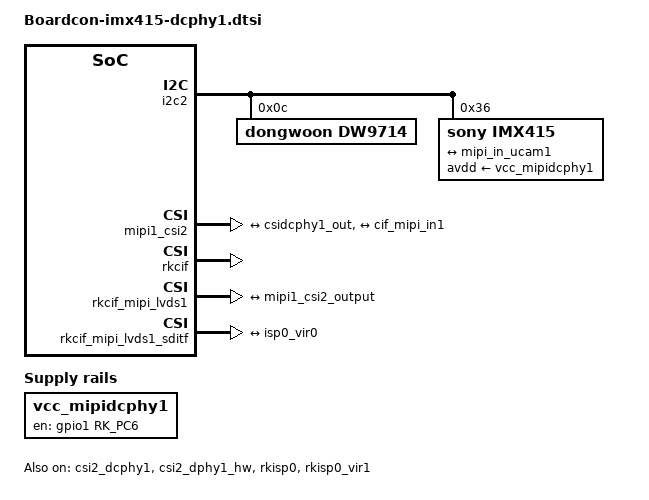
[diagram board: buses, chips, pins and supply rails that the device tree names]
// SPDX-License-Identifier: (GPL-2.0+ OR MIT)
/*
 * Copyright (c) 2021 Rockchip Electronics Co., Ltd.
 *
 */

/ {
	vcc_mipidcphy1: vcc-mipidcphy1-regulator {
		compatible = "regulator-fixed";
		gpio = <&gpio1 RK_PC6 GPIO_ACTIVE_HIGH>;
		pinctrl-names = "default";
		pinctrl-0 = <&mipidcphy1_pwr>;
		regulator-name = "vcc_mipidcphy1";
		enable-active-high;
	};
};

&csi2_dcphy1 {
	status = "okay";

	ports {
		#address-cells = <1>;
		#size-cells = <0>;
		port@0 {
			reg = <0>;
			#address-cells = <1>;
			#size-cells = <0>;

			mipi_in_ucam1: endpoint@1 {
				reg = <1>;
				remote-endpoint = <&imx415_outc1>;
				data-lanes = <1 2 3 4>;
			};
		};
		port@1 {
			reg = <1>;
			#address-cells = <1>;
			#size-cells = <0>;

			csidcphy1_out: endpoint@0 {
				reg = <0>;
				remote-endpoint = <&mipi1_csi2_input>;
			};
		};
	};
};

&csi2_dphy1_hw {
	status = "okay";
};

&i2c2 {
	status = "okay";
	pinctrl-names = "default";
	pinctrl-0 = <&i2c2m4_xfer>;

	dw9714: dw9714@c {
		compatible = "dongwoon,dw9714";
		status = "okay";
		reg = <0x0c>;
		rockchip,camera-module-index = <0>;
		rockchip,camera-module-facing = "back";
		rockchip,vcm-start-current = <20>;
		rockchip,vcm-rated-current = <120>;
		rockchip,vcm-step-mode = <13>;
	};

	imx415: imx415@36 {
		compatible = "sony,imx415";
		reg = <0x36>;
		clocks = <&cru CLK_MIPI_CAMARAOUT_M4>;
		clock-names = "xvclk";
		pinctrl-names = "default";
		pinctrl-0 = <&mipim0_camera4_clk>;
		power-domains = <&power RK3588_PD_VI>;
		avdd-supply = <&vcc_mipidcphy1>;
		rockchip,camera-module-index = <0>;
		rockchip,camera-module-facing = "back";
		rockchip,camera-module-name = "CMK-OT2022-PX1";
		rockchip,camera-module-lens-name = "IR0147-50IRC-8M-F20";
		lens-focus = <&dw9714>;
		port {
			imx415_outc1: endpoint {
				remote-endpoint = <&mipi_in_ucam1>;
				data-lanes = <1 2 3 4>;
			};
		};
	};
};

&mipi1_csi2 {
	status = "okay";

	ports {
		#address-cells = <1>;
		#size-cells = <0>;

		port@0 {
			reg = <0>;
			#address-cells = <1>;
			#size-cells = <0>;

			mipi1_csi2_input: endpoint@1 {
				reg = <1>;
				remote-endpoint = <&csidcphy1_out>;
			};
		};

		port@1 {
			reg = <1>;
			#address-cells = <1>;
			#size-cells = <0>;

			mipi1_csi2_output: endpoint@0 {
				reg = <0>;
				remote-endpoint = <&cif_mipi_in1>;
			};
		};
	};
};

&pinctrl {
	cam2 {
		mipidcphy1_pwr: mipidcphy1-pwr {
			rockchip,pins =
				/* camera power en */
				<1 RK_PC6 RK_FUNC_GPIO &pcfg_pull_none>;
		};
	};
};

&rkcif {
	status = "okay";
};

&rkcif_mipi_lvds1 {
	status = "okay";

	port {
		cif_mipi_in1: endpoint {
			remote-endpoint = <&mipi1_csi2_output>;
		};
	};
};

&rkcif_mipi_lvds1_sditf {
	status = "okay";

	port {
		mipi1_lvds_sditf: endpoint {
			remote-endpoint = <&isp0_vir0>;
		};
	};
};

&rkcif_mmu {
	status = "okay";
};

&rkisp0 {
	status = "okay";
};

&isp0_mmu {
	status = "okay";
};

&rkisp0_vir1 {
	status = "okay";

	port {
		#address-cells = <1>;
		#size-cells = <0>;

		isp0_vir0: endpoint@0 {
			reg = <0>;
			remote-endpoint = <&mipi1_lvds_sditf>;
		};
	};
};
